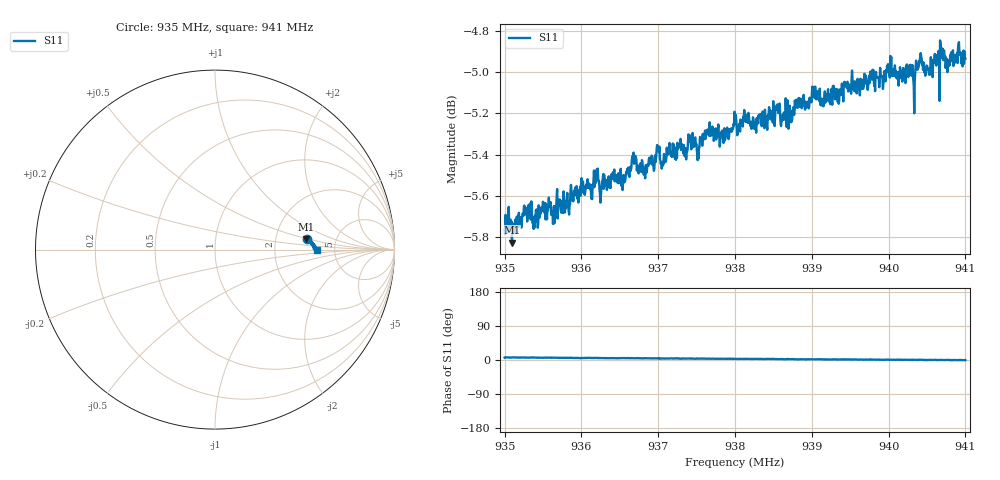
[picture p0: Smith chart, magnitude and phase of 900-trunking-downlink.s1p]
! Calibrated averaged scanner-service zoom
# Hz S RI R 50
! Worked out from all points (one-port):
!   1001 points, 935 MHz to 941 MHz, reference 50 ohm
!   lowest |S11| = -5.8 dB at 935.096 MHz (marker M1), VSWR 3.09, Z = 150 + j24.3 ohm
!   |S11| at or under -10 dB: nowhere
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9.35e8  0.5118 0.0566
9.35096e8  0.5077 0.0597
9.35258e8  0.5186 0.059
9.35408e8  0.5173 0.0588
9.3575e8  0.5207 0.0521
9.36002e8  0.5277 0.049
9.36188e8  0.526 0.0522
9.365e8  0.5276 0.0446
9.36686e8  0.5325 0.043
9.3683e8  0.5281 0.0443
9.36986e8  0.5382 0.0423
9.37052e8  0.5324 0.0385
9.3725e8  0.5391 0.0399
9.38e8  0.5463 0.0308
9.38378e8  0.5482 0.0229
9.3845e8  0.5479 0.0252
9.38552e8  0.5519 0.0215
9.3875e8  0.5494 0.023
9.38822e8  0.552 0.0169
9.395e8  0.5575 0.0112
9.4025e8  0.5637 0.00385
9.40322e8  0.5598 0.0021
9.40412e8  0.5678 0.00788
9.40472e8  0.5635 0.00168
9.40544e8  0.5617 0.00124
9.407e8  0.5666 0.00121
9.40766e8  0.5624 0.00237
9.41e8  0.5666 -0.00284
